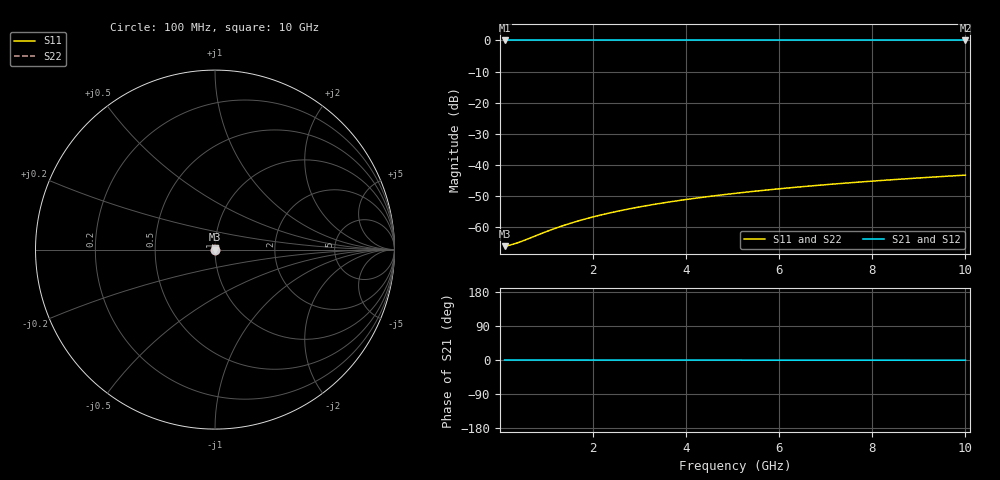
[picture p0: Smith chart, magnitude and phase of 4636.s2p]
# Hz S RI R 50.00
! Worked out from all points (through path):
!   100 points, 100 MHz to 10 GHz, reference 50 ohm
!   highest |S21| = 0.00 dB at 100 MHz (marker M1); lowest = 0.0 dB at 10 GHz (marker M2)
!   lowest |S11| = -66.1 dB at 100 MHz (marker M3), VSWR 1.00, Z = 50 + j0.00681 ohm
!   |S11| at or under -10 dB: start of sweep to end of sweep
!   |S22| runs from -66.1 to -43.3 dB; largest |S21 - S12| = 0
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1e8  0.000488 6.8e-05  0.9995 -9.84e-05  0.9995 -9.84e-05  0.000488 6.8e-05
2e8  0.000491 0.000136  0.9995 -0.000197  0.9995 -0.000197  0.000491 0.000136
3e8  0.000494 0.000204  0.9995 -0.000295  0.9995 -0.000295  0.000494 0.000204
4e8  0.000496 0.000272  0.9995 -0.000394  0.9995 -0.000394  0.000496 0.000272
5e8  0.000497 0.00034  0.9995 -0.000492  0.9995 -0.000492  0.000497 0.00034
1e9  0.000504 0.00068  0.9995 -0.000984  0.9995 -0.000984  0.000504 0.00068
1.2e9  0.000506 0.000816  0.9995 -0.00118  0.9995 -0.00118  0.000506 0.000816
1.5e9  0.000509 0.00102  0.9995 -0.00148  0.9995 -0.00148  0.000509 0.00102
1.8e9  0.000511 0.00122  0.9995 -0.00177  0.9995 -0.00177  0.000511 0.00122
2.1e9  0.000514 0.00143  0.9995 -0.00207  0.9995 -0.00207  0.000514 0.00143
2.5e9  0.000518 0.0017  0.9995 -0.00246  0.9995 -0.00246  0.000518 0.0017
2.9e9  0.000521 0.00197  0.9995 -0.00285  0.9995 -0.00285  0.000521 0.00197
3.4e9  0.000526 0.00231  0.9995 -0.00335  0.9995 -0.00335  0.000526 0.00231
3.8e9  0.000529 0.00259  0.9995 -0.00374  0.9995 -0.00374  0.000529 0.00259
4.2e9  0.000533 0.00286  0.9995 -0.00413  0.9995 -0.00413  0.000533 0.00286
4.6e9  0.000537 0.00313  0.9995 -0.00453  0.9995 -0.00453  0.000537 0.00313
5.1e9  0.000542 0.00347  0.9995 -0.00502  0.9995 -0.00502  0.000542 0.00347
5.9e9  0.000551 0.00401  0.9994 -0.00581  0.9994 -0.00581  0.000551 0.00401
6.7e9  0.000561 0.00456  0.9994 -0.0066  0.9994 -0.0066  0.000561 0.00456
7.5e9  0.000571 0.0051  0.9994 -0.00738  0.9994 -0.00738  0.000571 0.0051
8.4e9  0.000584 0.00572  0.9994 -0.00827  0.9994 -0.00827  0.000584 0.00572
1e10  0.000609 0.00681  0.9994 -0.00985  0.9994 -0.00985  0.000609 0.00681
